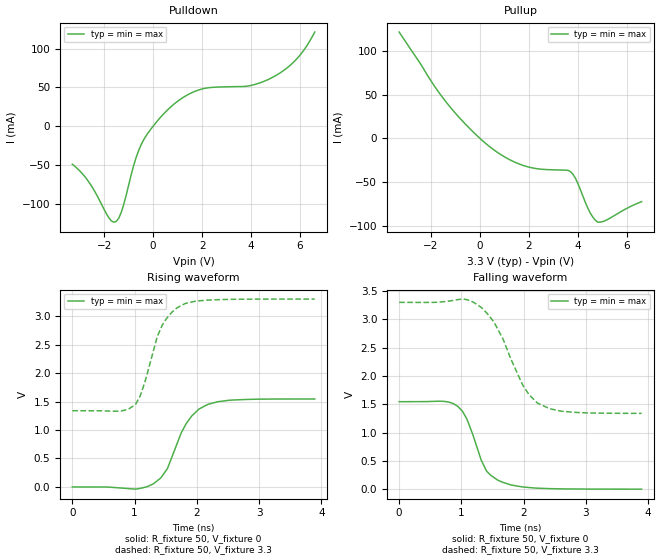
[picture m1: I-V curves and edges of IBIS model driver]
| IBIS file ex2_slowpre_tr5ps.ibs created by PYS2IBIS3
| Missouri S&T EMC Lab
[IBIS Ver] 7.1
[File Name] ex2_slowpre_tr5ps.ibs
[File Rev] 1.0
[Date] July 28, 2026
[Source] ex2 variant 'slowpre' -- predriver at half width
[Notes] Parameter selection; sim_time=3.894e-09, tr=tf=5.000e-12.
[Disclaimer] Experimental characterization for pybis observability study.
[Component] MCM Driver 1
[Manufacturer] MegaFLOPS Inc.
[Package]
| variable   typ   min   max
R_pkg 0 NA NA
L_pkg 0H NA NA
C_pkg 0F NA NA
[Pin]  signal_name   model_name   R_pin   L_pin   C_pin
vdd   vdd   POWER
gnd   gnd   GND
| in in dummy
out   out   driver
| End of Component
| Models and submodels in the file (1): driver (Output)
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[Model] driver
Model_type Output
Polarity Non-Inverting
Enable Active-Low
Vinl  = 0.8V
Vinh  = 2V
C_comp 5.0000pF 5.0000pF 5.0000pF
[Temperature Range] 27.0000 27.0000 27.0000
[Voltage Range] 3.3000V 3.3000V 3.3000V
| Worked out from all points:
|   slope of the pulldown table from 0 to 0.495 V, typ, clamps not added: 27.4 ohm
|   slope of the pullup table from 0 to 0.495 V, typ, clamps not added: 42.7 ohm
|   rising waveform, R_fixture 50, V_fixture 0: 20-80 % time 389ps typ, 389ps min, 389ps max; typ from 0 V to 1.54 V
|   rising waveform, R_fixture 50, V_fixture 3.3: 20-80 % time 351ps typ, 351ps min, 351ps max; typ from 1.34 V to 3.3 V
|   falling waveform, R_fixture 50, V_fixture 0: 20-80 % time 325ps typ, 325ps min, 325ps max; typ from 1.54 V to 0 V
|   falling waveform, R_fixture 50, V_fixture 3.3: 20-80 % time 503ps typ, 503ps min, 503ps max; typ from 3.3 V to 1.34 V
[Pulldown]
| Voltage   I(typ)   I(min)   I(max)
-3.3V     -48.93mA   -48.93mA   -48.93mA
-2.6V     -72.86mA   -72.86mA   -72.86mA
-1.8V     -118.2mA   -118.2mA   -118.2mA
-1.5V     -122.5mA   -122.5mA   -122.5mA
-1.3V     -110.9mA   -110.9mA   -110.9mA
-500mV    -24.59mA   -24.59mA   -24.59mA
600mV     21.34mA    21.34mA    21.34mA
1.9V      47.12mA    47.12mA    47.12mA
3.9V      51.99mA    51.99mA    51.99mA
4.9V      63.38mA    63.38mA    63.38mA
5.9V      87.99mA    87.99mA    87.99mA
6.6V      121.3mA    121.3mA    121.3mA
[Pullup]
| Voltage   I(typ)   I(min)   I(max)
-3.3V     122mA      122mA      122mA
-1.9V     61.75mA    61.75mA    61.75mA
-1.3V     38.86mA    38.86mA    38.86mA
-200mV    5.278mA    5.278mA    5.278mA
700mV     -15.75mA   -15.75mA   -15.75mA
2V        -32.92mA   -32.92mA   -32.92mA
3.7V      -38.24mA   -38.24mA   -38.24mA
3.9V      -45.89mA   -45.89mA   -45.89mA
4.5V      -85.43mA   -85.43mA   -85.43mA
4.8V      -95.97mA   -95.97mA   -95.97mA
5.1V      -94.48mA   -94.48mA   -94.48mA
6.6V      -72.53mA   -72.53mA   -72.53mA
[Ramp]
| variable   typ   min   max
dV/dt_r 0.9270/0.3886n 0.9270/0.3886n 0.9270/0.3886n
dV/dt_f 1.1766/0.5027n 1.1766/0.5027n 1.1766/0.5027n
R_load = 50
[Rising Waveform]
R_fixture = 50
V_fixture = 0
|time   V(typ)   V(min)   V(max)
0s        7.302nV    7.302nV    7.302nV
1.017ns   -38.99mV   -38.99mV   -38.99mV
1.298ns   51.54mV    51.54mV    51.54mV
1.528ns   322mV      322mV      322mV
1.746ns   942.1mV    942.1mV    942.1mV
1.828ns   1.11V      1.11V      1.11V
2.023ns   1.359V     1.359V     1.359V
2.175ns   1.45V      1.45V      1.45V
2.592ns   1.528V     1.528V     1.528V
3.894ns   1.545V     1.545V     1.545V
[Rising Waveform]
R_fixture = 50
V_fixture = 3.3
|time   V(typ)   V(min)   V(max)
0s        1.338V     1.338V     1.338V
783.5ps   1.335V     1.335V     1.335V
1.013ns   1.444V     1.444V     1.444V
1.158ns   1.813V     1.813V     1.813V
1.36ns    2.624V     2.624V     2.624V
1.442ns   2.837V     2.837V     2.837V
1.59ns    3.06V      3.06V      3.06V
1.813ns   3.222V     3.222V     3.222V
2.323ns   3.289V     3.289V     3.289V
3.894ns   3.3V       3.3V       3.3V
[Falling Waveform]
R_fixture = 50
V_fixture = 0
|time   V(typ)   V(min)   V(max)
0s        1.545V     1.545V     1.545V
709.4ps   1.552V     1.552V     1.552V
935.5ps   1.468V     1.468V     1.468V
1.017ns   1.376V     1.376V     1.376V
1.088ns   1.239V     1.239V     1.239V
1.314ns   523.3mV    523.3mV    523.3mV
1.403ns   320.6mV    320.6mV    320.6mV
1.653ns   124.8mV    124.8mV    124.8mV
2.156ns   21.15mV    21.15mV    21.15mV
3.894ns   103.9uV    103.9uV    103.9uV
[Falling Waveform]
R_fixture = 50
V_fixture = 3.3
|time   V(typ)   V(min)   V(max)
0s        3.3V       3.3V       3.3V
1.021ns   3.358V     3.358V     3.358V
1.317ns   3.212V     3.212V     3.212V
1.52ns    2.957V     2.957V     2.957V
1.664ns   2.665V     2.665V     2.665V
1.984ns   1.839V     1.839V     1.839V
2.078ns   1.68V      1.68V      1.68V
2.218ns   1.523V     1.523V     1.523V
2.405ns   1.427V     1.427V     1.427V
3.894ns   1.339V     1.339V     1.339V
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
